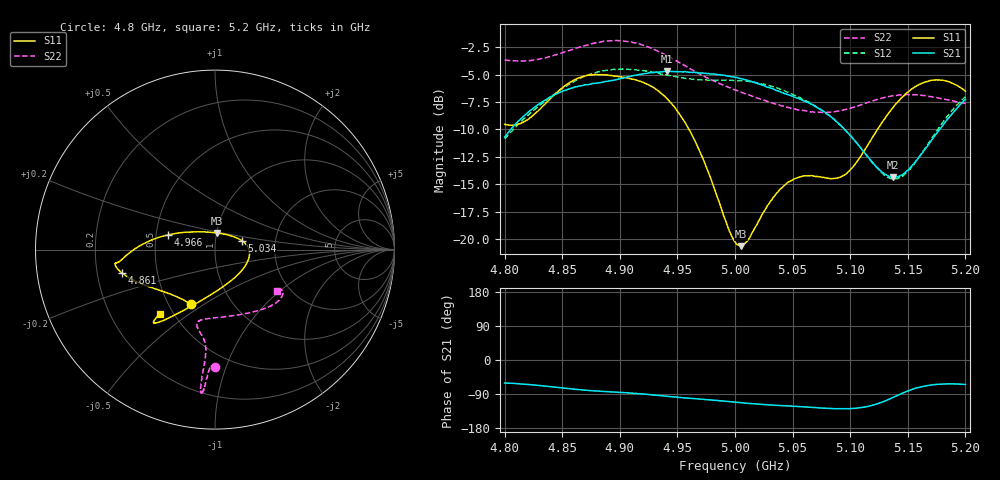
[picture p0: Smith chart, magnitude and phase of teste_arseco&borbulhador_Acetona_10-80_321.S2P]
! Network Analyzer HP8722D
! Hewlett-Packard
! Data name: Linha & Wilkinson
! Saver's name: Rodrigo Anjos
! Comments: Teste da utilização de aquisição
! continua pelo VNA HP8722D
! Time and date: 17/4/2025 17:02
!  Frequency  S11  S21  S12  S22
# HZ  S  MA R 50
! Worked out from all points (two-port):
!   401 points, 4.8 GHz to 5.2 GHz, reference 50 ohm
!   highest |S21| = -4.70 dB at 4.941 GHz (marker M1); lowest = -14.4 dB at 5.137 GHz (marker M2)
!   |S21| within 3 dB of the highest: 4.83 GHz to 5.066 GHz (236.7 MHz wide, 4.78 % of centre); 5.19579 GHz to end of sweep
!   lowest |S11| = -20.6 dB at 5.005 GHz (marker M3), VSWR 1.20, Z = 50.4 + j9.36 ohm
!   |S11| at or under -10 dB: 4.96 GHz to 5.124 GHz (163.6 MHz wide, 3.24 % of centre)
!   |S22| runs from -8.5 to -1.9 dB; largest |S21 - S12| = 0.87
!   S11 on the Smith chart (normalised r, x): 4.8 GHz: 0.64, -0.44; 4.861 GHz: 0.31, -0.11; 4.966 GHz: 0.58, +0.10; 5.034 GHz: 1.34, +0.14; 5.2 GHz: 0.42, -0.39
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4.8e9  0.3337 -113.8  0.2921 -60.8  0.2861 -175.0  0.6556 -90.2
4.819e9  0.3483 -133.8  0.3727 -64.3  0.361 -173.9  0.6515 -91.8
4.861e9  0.5336 -165.7  0.4938 -77.2  0.5252 -177.1  0.7376 -94.0
4.867e9  0.549 -168.1  0.5017 -78.9  0.5444 -178.1  0.7559 -94.2
4.899e9  0.5501 -172.5  0.5364 -85.4  0.5946 175.3  0.8021 -95.5
4.934e9  0.4716 -178.3  0.5773 -93.7  0.5707 171.6  0.7153 -96.0
4.941e9  0.4364 178.6  0.582 -95.6  0.5604 171.7  0.6853 -95.7
4.966e9  0.2751 162.8  0.574 -102.0  0.5332 173.5  0.5789 -95.1
5e9  0.09724 100.1  0.5465 -111.4  0.5293 176.1  0.4792 -99.1
5.005e9  0.09284 82.0  0.539 -112.7  0.5269 176.0  0.4677 -100.3
5.012e9  0.1002 58.5  0.5268 -114.4  0.5237 175.6  0.4548 -101.7
5.034e9  0.1565 18.8  0.4819 -119.4  0.4927 174.7  0.4144 -103.3
5.048e9  0.1841 4.6  0.4521 -121.4  0.4628 174.0  0.3959 -100.0
5.067e9  0.1946 -15.5  0.4111 -125.1  0.4118 173.6  0.3804 -90.2
5.085e9  0.1887 -43.9  0.3545 -128.3  0.3549 173.5  0.3808 -76.8
5.097e9  0.1991 -68.2  0.3086 -128.7  0.3089 174.7  0.3907 -67.0
5.134e9  0.379 -117.1  0.1932 -103.1  0.1899 -156.2  0.4472 -43.0
5.137e9  0.3963 -118.9  0.1911 -99.0  0.1885 -151.3  0.4501 -41.7
5.15e9  0.4676 -124.7  0.206 -81.7  0.2031 -131.4  0.4558 -36.8
5.168e9  0.5255 -128.9  0.2698 -67.1  0.274 -113.4  0.4469 -32.3
5.184e9  0.5246 -130.5  0.3498 -63.1  0.3613 -107.3  0.4324 -31.1
5.2e9  0.472 -130.8  0.4334 -64.6  0.4458 -106.7  0.4152 -33.6
